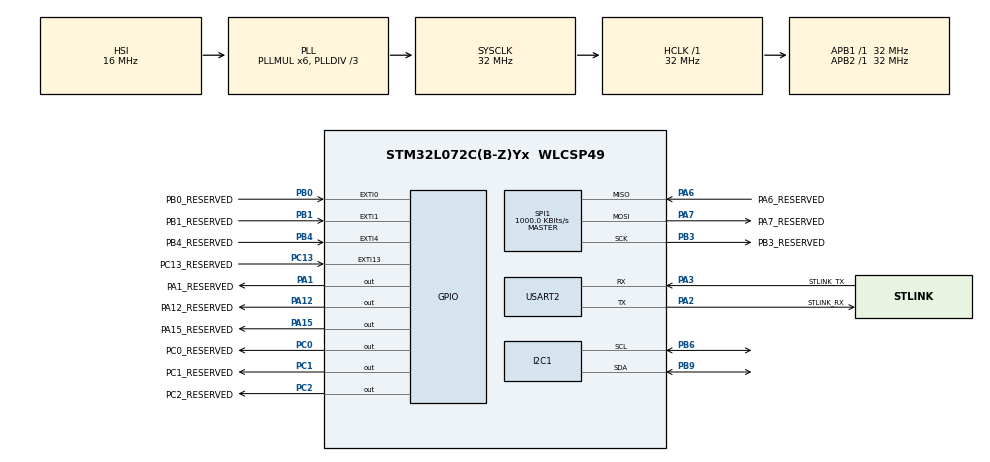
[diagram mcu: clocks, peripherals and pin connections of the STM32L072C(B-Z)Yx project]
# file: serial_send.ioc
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I2C1.Timing=0x00B07CB4
Mcu.Family=STM32L0
Mcu.Name=STM32L072C(B-Z)Yx
Mcu.Package=WLCSP49
NVIC.EXTI0_1_IRQn=true\:0\:0\:false\:false\:true\:true\:true\:true
NVIC.EXTI4_15_IRQn=true\:0\:0\:false\:false\:true\:true\:true\:true
NVIC.RTC_IRQn=true\:0\:0\:false\:false\:true\:true\:true\:true
NVIC.USART2_IRQn=true\:0\:0\:false\:false\:true\:true\:true\:true
PA1.GPIO_Label=PA1_RESERVED
PA1.GPIO_Speed=GPIO_SPEED_FREQ_HIGH
PA1.PinState=GPIO_PIN_RESET
PA1.Signal=GPIO_Output
PA12.GPIO_Label=PA12_RESERVED
PA12.GPIO_Speed=GPIO_SPEED_FREQ_HIGH
PA12.Signal=GPIO_Output
PA15.GPIO_Label=PA15_RESERVED
PA15.GPIO_Speed=GPIO_SPEED_FREQ_HIGH
PA15.Signal=GPIO_Output
PA2.GPIO_Label=STLINK_RX
PA2.Mode=Asynchronous
PA2.Signal=USART2_TX
PA3.GPIO_Label=STLINK_TX
PA3.Mode=Asynchronous
PA3.Signal=USART2_RX
PA6.GPIO_Label=PA6_RESERVED
PA6.Mode=Full_Duplex_Master
PA6.Signal=SPI1_MISO
PA7.GPIO_Label=PA7_RESERVED
PA7.Mode=Full_Duplex_Master
PA7.Signal=SPI1_MOSI
PB0.GPIO_Label=PB0_RESERVED
PB0.Signal=GPXTI0
PB1.GPIO_Label=PB1_RESERVED
PB1.Signal=GPXTI1
PB3.GPIO_Label=PB3_RESERVED
PB3.Mode=Full_Duplex_Master
PB3.Signal=SPI1_SCK
PB4.GPIO_Label=PB4_RESERVED
PB4.Signal=GPXTI4
PB6.Mode=I2C
PB6.Signal=I2C1_SCL
PB9.Mode=I2C
PB9.Signal=I2C1_SDA
PC0.GPIO_Label=PC0_RESERVED
PC0.GPIO_Speed=GPIO_SPEED_FREQ_HIGH
PC0.Signal=GPIO_Output
PC1.GPIO_Label=PC1_RESERVED
PC1.GPIO_Speed=GPIO_SPEED_FREQ_HIGH
PC1.Signal=GPIO_Output
PC13.GPIO_Label=PC13_RESERVED
PC13.Signal=GPXTI13
PC2.GPIO_Label=PC2_RESERVED
PC2.GPIO_Speed=GPIO_SPEED_FREQ_HIGH
PC2.Signal=GPIO_Output
PH0-OSC_IN.Signal=RCC_OSC_IN
PH1-OSC_OUT.Signal=RCC_OSC_OUT
ProjectManager.HeapSize=0x200
ProjectManager.StackSize=0x400
ProjectManager.TargetToolchain=STM32CubeIDE
RCC.AHBFreq_Value=32000000
RCC.APB1Freq_Value=32000000
RCC.APB1TimFreq_Value=32000000
RCC.APB2Freq_Value=32000000
RCC.APB2TimFreq_Value=32000000
RCC.HCLKFreq_Value=32000000
RCC.HSE_VALUE=8000000
RCC.HSI16_VALUE=16000000
RCC.HSI48_VALUE=48000000
RCC.HSI_VALUE=16000000
RCC.LSE_VALUE=32768
RCC.MSI_VALUE=2097000
RCC.PLLDIV=RCC_PLLDIV_3
RCC.PLLMUL=RCC_PLLMUL_6
RCC.SYSCLKFreq_VALUE=32000000
RCC.SYSCLKSource=RCC_SYSCLKSOURCE_PLLCLK
RCC.VCOOutputFreq_Value=96000000
RTC.Alarm-Alarm\ A=RTC_ALARM_A
RTC.AlarmSubSecondMask-Alarm\ A=RTC_ALARMSUBSECONDMASK_NONE
RTC.AsynchPrediv=31
RTC.Format=RTC_FORMAT_BIN
RTC.SynchPrediv=1023
SPI1.BaudRatePrescaler=SPI_BAUDRATEPRESCALER_32
SPI1.CalculateBaudRate=1000.0 KBits/s
SPI1.Direction=SPI_DIRECTION_2LINES
SPI1.Mode=SPI_MODE_MASTER
SPI1.VirtualType=VM_MASTER
USART2.VirtualMode-Asynchronous=VM_ASYNC
VP_RTC_VS_RTC_Activate.Mode=RTC_Enabled
VP_RTC_VS_RTC_Alarm_A_Intern.Mode=Alarm A
VP_RTC_VS_RTC_Calendar.Mode=RTC_Calendar
board=B-L072Z-LRWAN1

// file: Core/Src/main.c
/* USER CODE BEGIN Header */
/**
  ******************************************************************************
  * @file           : main.c
  * @brief          : Main program body
  ******************************************************************************
  * @attention
  *
  * Copyright (c) 2026 STMicroelectronics.
  * All rights reserved.
  *
  * This software is licensed under terms that can be found in the LICENSE file
  * in the root directory of this software component.
  * If no LICENSE file comes with this software, it is provided AS-IS.
  *
  ******************************************************************************
  */
/* USER CODE END Header */
#include "main.h"

/* USER CODE BEGIN Includes */
#include "stdio.h"
/* USER CODE END Includes */

/* USER CODE BEGIN PD */
#define MPU6050_ADDR 0x68

#define REG_PWR_MGMT_1 0x6b
#define REG_WHO_AM_I 0x75
#define REG_ACCEL_XOUT_L  0x3c
#define REG_ACCEL_XOUT_H 0x3b
#define REG_ACCEL_YOUT_H 0x3d
#define REG_ACCEL_ZOUT_H 0x3f
#define REG_GYRO_XOUT_H 0x43
#define REG_GYRO_YOUT_H 0x45
#define REG_GYRO_ZOUT_H 0x47
/* USER CODE END PD */

I2C_HandleTypeDef hi2c1;

RTC_HandleTypeDef hrtc;

SPI_HandleTypeDef hspi1;

UART_HandleTypeDef huart2;

/* USER CODE BEGIN PV */
float acc[3];
float gyro[3];
/* USER CODE END PV */

void SystemClock_Config(void);
static void MX_GPIO_Init(void);
static void MX_I2C1_Init(void);
static void MX_RTC_Init(void);
static void MX_SPI1_Init(void);
static void MX_USART2_UART_Init(void);

/* USER CODE BEGIN 0 */
int _write(int file, char *ptr, int len){
	HAL_StatusTypeDef hstatus;
	hstatus = HAL_UART_Transmit(&huart2,(uint8_t *)ptr, len, HAL_MAX_DELAY);
	if(hstatus==HAL_OK)
		return len;
	else
		return -1;
}

uint8_t MPU6050_WakeUp(I2C_HandleTypeDef *i2c){
	uint8_t data = 0x0;
	if(HAL_I2C_Mem_Write(i2c,MPU6050_ADDR<<1,REG_PWR_MGMT_1,1,&data,1,2000)==HAL_OK)
		return 1;
	else
		return 0;
}

uint8_t MPU6050_Who(I2C_HandleTypeDef *i2c){
	uint8_t data = 0;
	if(HAL_I2C_Mem_Read(i2c,MPU6050_ADDR<<1,REG_WHO_AM_I,1,&data,1,2000)==HAL_OK)
		return data;
	else
		return 0;
}

float MPU6050_Read_AccX(I2C_HandleTypeDef *i2c){
	uint8_t data[2];

	if(HAL_I2C_Mem_Read(i2c,MPU6050_ADDR<<1,REG_ACCEL_XOUT_H,1,data,2,100)==HAL_OK){
//		printf("\nRead data!");
		return (((int16_t)(data[0]<<8 | data[1]))/16384.0);
//		return (int16_t)(data[1]);
	}else{
		printf("\nFailed to read!");
		return 44;
	}

}

float MPU6050_Read_AccY(I2C_HandleTypeDef *i2c){
	uint8_t data[2];

	if(HAL_I2C_Mem_Read(i2c,MPU6050_ADDR<<1,REG_ACCEL_YOUT_H,1,data,2,100)==HAL_OK){
//		printf("\nRead data!");
		return (((int16_t)(data[0]<<8 | data[1]))/16384.0);
//		return (int16_t)(data[1]);
	}else{
		printf("\nFailed to read!");
		return 44;
	}

}

float MPU6050_Read_AccZ(I2C_HandleTypeDef *i2c){
	uint8_t data[2];

	if(HAL_I2C_Mem_Read(i2c,MPU6050_ADDR<<1,REG_ACCEL_ZOUT_H,1,data,2,100)==HAL_OK){
//		printf("\nRead data!");
		return (((int16_t)(data[0]<<8 | data[1]))/16384.0);
//		return (int16_t)(data[1]);
	}else{
		printf("\nFailed to read!");
		return 44;
	}

}

float MPU6050_Read_GyroX(I2C_HandleTypeDef *i2c){
	uint8_t data[2];

		if(HAL_I2C_Mem_Read(i2c,MPU6050_ADDR<<1,REG_GYRO_XOUT_H,1,data,2,100)==HAL_OK){
	//		printf("\nRead data!");
			return (((int16_t)(data[0]<<8 | data[1]))/131.0);
	//		return (int16_t)(data[1]);
		}else{
			printf("\nFailed to read!");
			return 44;
		}
}

float MPU6050_Read_GyroY(I2C_HandleTypeDef *i2c){
	uint8_t data[2];

		if(HAL_I2C_Mem_Read(i2c,MPU6050_ADDR<<1,REG_GYRO_YOUT_H,1,data,2,100)==HAL_OK){
	//		printf("\nRead data!");
			return (((int16_t)(data[0]<<8 | data[1]))/131.0);
	//		return (int16_t)(data[1]);
		}else{
			printf("\nFailed to read!");
			return 44;
		}
}

float MPU6050_Read_GyroZ(I2C_HandleTypeDef *i2c){
	uint8_t data[2];

		if(HAL_I2C_Mem_Read(i2c,MPU6050_ADDR<<1,REG_GYRO_ZOUT_H,1,data,2,100)==HAL_OK){
	//		printf("\nRead data!");
			return (((int16_t)(data[0]<<8 | data[1]))/131.0);
	//		return (int16_t)(data[1]);
		}else{
			printf("\nFailed to read!");
			return 44;
		}
}

/* USER CODE END 0 */

int main(void)
{

  /* MCU Configuration--------------------------------------------------------*/

  /* Reset of all peripherals, Initializes the Flash interface and the Systick. */
  HAL_Init();

  /* Configure the system clock */
  SystemClock_Config();

  /* Initialize all configured peripherals */
  MX_GPIO_Init();
  MX_I2C1_Init();
  MX_RTC_Init();
  MX_SPI1_Init();
  MX_USART2_UART_Init();
  /* USER CODE BEGIN 2 */
  MPU6050_WakeUp(&hi2c1);
  /* USER CODE END 2 */

  /* Infinite loop */
  while (1)
  {
	acc[0]=MPU6050_Read_AccX(&hi2c1);
	acc[1]=MPU6050_Read_AccY(&hi2c1);
	acc[2]=MPU6050_Read_AccZ(&hi2c1);

	gyro[0]=MPU6050_Read_GyroX(&hi2c1);
	gyro[1]=MPU6050_Read_GyroY(&hi2c1);
	gyro[2]=MPU6050_Read_GyroZ(&hi2c1);

	printf("%f %f %f %f %f %f\n",acc[0],acc[1],acc[2],gyro[0],gyro[1],gyro[2]);

  }
}

void SystemClock_Config(void)
{
  RCC_OscInitTypeDef RCC_OscInitStruct = {0};
  RCC_ClkInitTypeDef RCC_ClkInitStruct = {0};
  RCC_PeriphCLKInitTypeDef PeriphClkInit = {0};

  /** Configure the main internal regulator output voltage
  */
  __HAL_PWR_VOLTAGESCALING_CONFIG(PWR_REGULATOR_VOLTAGE_SCALE1);

  /** Initializes the RCC Oscillators according to the specified parameters
  * in the RCC_OscInitTypeDef structure.
  */
  RCC_OscInitStruct.OscillatorType = RCC_OSCILLATORTYPE_HSI|RCC_OSCILLATORTYPE_LSI;
  RCC_OscInitStruct.HSIState = RCC_HSI_ON;
  RCC_OscInitStruct.HSICalibrationValue = RCC_HSICALIBRATION_DEFAULT;
  RCC_OscInitStruct.LSIState = RCC_LSI_ON;
  RCC_OscInitStruct.PLL.PLLState = RCC_PLL_ON;
  RCC_OscInitStruct.PLL.PLLSource = RCC_PLLSOURCE_HSI;
  RCC_OscInitStruct.PLL.PLLMUL = RCC_PLLMUL_6;
  RCC_OscInitStruct.PLL.PLLDIV = RCC_PLLDIV_3;
  if (HAL_RCC_OscConfig(&RCC_OscInitStruct) != HAL_OK)
  {
    Error_Handler();
  }

  /** Initializes the CPU, AHB and APB buses clocks
  */
  RCC_ClkInitStruct.ClockType = RCC_CLOCKTYPE_HCLK|RCC_CLOCKTYPE_SYSCLK
                              |RCC_CLOCKTYPE_PCLK1|RCC_CLOCKTYPE_PCLK2;
  RCC_ClkInitStruct.SYSCLKSource = RCC_SYSCLKSOURCE_PLLCLK;
  RCC_ClkInitStruct.AHBCLKDivider = RCC_SYSCLK_DIV1;
  RCC_ClkInitStruct.APB1CLKDivider = RCC_HCLK_DIV1;
  RCC_ClkInitStruct.APB2CLKDivider = RCC_HCLK_DIV1;

  if (HAL_RCC_ClockConfig(&RCC_ClkInitStruct, FLASH_LATENCY_1) != HAL_OK)
  {
    Error_Handler();
  }
  PeriphClkInit.PeriphClockSelection = RCC_PERIPHCLK_USART2|RCC_PERIPHCLK_I2C1
                              |RCC_PERIPHCLK_RTC;
  PeriphClkInit.Usart2ClockSelection = RCC_USART2CLKSOURCE_PCLK1;
  PeriphClkInit.I2c1ClockSelection = RCC_I2C1CLKSOURCE_PCLK1;
  PeriphClkInit.RTCClockSelection = RCC_RTCCLKSOURCE_LSI;
  if (HAL_RCCEx_PeriphCLKConfig(&PeriphClkInit) != HAL_OK)
  {
    Error_Handler();
  }
}

static void MX_I2C1_Init(void)
{

  hi2c1.Instance = I2C1;
  hi2c1.Init.Timing = 0x00B07CB4;
  hi2c1.Init.OwnAddress1 = 0;
  hi2c1.Init.AddressingMode = I2C_ADDRESSINGMODE_7BIT;
  hi2c1.Init.DualAddressMode = I2C_DUALADDRESS_DISABLE;
  hi2c1.Init.OwnAddress2 = 0;
  hi2c1.Init.OwnAddress2Masks = I2C_OA2_NOMASK;
  hi2c1.Init.GeneralCallMode = I2C_GENERALCALL_DISABLE;
  hi2c1.Init.NoStretchMode = I2C_NOSTRETCH_DISABLE;
  if (HAL_I2C_Init(&hi2c1) != HAL_OK)
  {
    Error_Handler();
  }

  /** Configure Analogue filter
  */
  if (HAL_I2CEx_ConfigAnalogFilter(&hi2c1, I2C_ANALOGFILTER_ENABLE) != HAL_OK)
  {
    Error_Handler();
  }

  /** Configure Digital filter
  */
  if (HAL_I2CEx_ConfigDigitalFilter(&hi2c1, 0) != HAL_OK)
  {
    Error_Handler();
  }

}

static void MX_RTC_Init(void)
{

  RTC_TimeTypeDef sTime = {0};
  RTC_DateTypeDef sDate = {0};
  RTC_AlarmTypeDef sAlarm = {0};

  /** Initialize RTC Only
  */
  hrtc.Instance = RTC;
  hrtc.Init.HourFormat = RTC_HOURFORMAT_24;
  hrtc.Init.AsynchPrediv = 31;
  hrtc.Init.SynchPrediv = 1023;
  hrtc.Init.OutPut = RTC_OUTPUT_DISABLE;
  hrtc.Init.OutPutRemap = RTC_OUTPUT_REMAP_NONE;
  hrtc.Init.OutPutPolarity = RTC_OUTPUT_POLARITY_HIGH;
  hrtc.Init.OutPutType = RTC_OUTPUT_TYPE_OPENDRAIN;
  if (HAL_RTC_Init(&hrtc) != HAL_OK)
  {
    Error_Handler();
  }

  /** Initialize RTC and set the Time and Date
  */
  sTime.Hours = 0;
  sTime.Minutes = 0;
  sTime.Seconds = 0;
  sTime.DayLightSaving = RTC_DAYLIGHTSAVING_NONE;
  sTime.StoreOperation = RTC_STOREOPERATION_RESET;
  if (HAL_RTC_SetTime(&hrtc, &sTime, RTC_FORMAT_BIN) != HAL_OK)
  {
    Error_Handler();
  }
  sDate.WeekDay = RTC_WEEKDAY_MONDAY;
  sDate.Month = RTC_MONTH_JANUARY;
  sDate.Date = 1;
  sDate.Year = 0;

  if (HAL_RTC_SetDate(&hrtc, &sDate, RTC_FORMAT_BIN) != HAL_OK)
  {
    Error_Handler();
  }

  /** Enable the Alarm A
  */
  sAlarm.AlarmTime.Hours = 0;
  sAlarm.AlarmTime.Minutes = 0;
  sAlarm.AlarmTime.Seconds = 0;
  sAlarm.AlarmTime.SubSeconds = 0;
  sAlarm.AlarmTime.DayLightSaving = RTC_DAYLIGHTSAVING_NONE;
  sAlarm.AlarmTime.StoreOperation = RTC_STOREOPERATION_RESET;
  sAlarm.AlarmMask = RTC_ALARMMASK_NONE;
  sAlarm.AlarmSubSecondMask = RTC_ALARMSUBSECONDMASK_NONE;
  sAlarm.AlarmDateWeekDaySel = RTC_ALARMDATEWEEKDAYSEL_DATE;
  sAlarm.AlarmDateWeekDay = 1;
  sAlarm.Alarm = RTC_ALARM_A;
  if (HAL_RTC_SetAlarm_IT(&hrtc, &sAlarm, RTC_FORMAT_BIN) != HAL_OK)
  {
    Error_Handler();
  }

}

static void MX_SPI1_Init(void)
{

  /* SPI1 parameter configuration*/
  hspi1.Instance = SPI1;
  hspi1.Init.Mode = SPI_MODE_MASTER;
  hspi1.Init.Direction = SPI_DIRECTION_2LINES;
  hspi1.Init.DataSize = SPI_DATASIZE_8BIT;
  hspi1.Init.CLKPolarity = SPI_POLARITY_LOW;
  hspi1.Init.CLKPhase = SPI_PHASE_1EDGE;
  hspi1.Init.NSS = SPI_NSS_SOFT;
  hspi1.Init.BaudRatePrescaler = SPI_BAUDRATEPRESCALER_32;
  hspi1.Init.FirstBit = SPI_FIRSTBIT_MSB;
  hspi1.Init.TIMode = SPI_TIMODE_DISABLE;
  hspi1.Init.CRCCalculation = SPI_CRCCALCULATION_DISABLE;
  hspi1.Init.CRCPolynomial = 7;
  if (HAL_SPI_Init(&hspi1) != HAL_OK)
  {
    Error_Handler();
  }

}

static void MX_USART2_UART_Init(void)
{

  huart2.Instance = USART2;
  huart2.Init.BaudRate = 115200;
  huart2.Init.WordLength = UART_WORDLENGTH_8B;
  huart2.Init.StopBits = UART_STOPBITS_1;
  huart2.Init.Parity = UART_PARITY_NONE;
  huart2.Init.Mode = UART_MODE_TX_RX;
  huart2.Init.HwFlowCtl = UART_HWCONTROL_NONE;
  huart2.Init.OverSampling = UART_OVERSAMPLING_16;
  huart2.Init.OneBitSampling = UART_ONE_BIT_SAMPLE_DISABLE;
  huart2.AdvancedInit.AdvFeatureInit = UART_ADVFEATURE_NO_INIT;
  if (HAL_UART_Init(&huart2) != HAL_OK)
  {
    Error_Handler();
  }

}

static void MX_GPIO_Init(void)
{
  GPIO_InitTypeDef GPIO_InitStruct = {0};

  /* GPIO Ports Clock Enable */
  __HAL_RCC_GPIOA_CLK_ENABLE();
  __HAL_RCC_GPIOB_CLK_ENABLE();
  __HAL_RCC_GPIOC_CLK_ENABLE();
  __HAL_RCC_GPIOH_CLK_ENABLE();

  /*Configure GPIO pin Output Level */
  HAL_GPIO_WritePin(GPIOA, PA15_RESERVED_Pin|PA12_RESERVED_Pin|PA1_RESERVED_Pin, GPIO_PIN_RESET);

  /*Configure GPIO pin Output Level */
  HAL_GPIO_WritePin(GPIOC, PC1_RESERVED_Pin|PC0_RESERVED_Pin|PC2_RESERVED_Pin, GPIO_PIN_RESET);

  /*Configure GPIO pins : PA15_RESERVED_Pin PA12_RESERVED_Pin PA1_RESERVED_Pin */
  GPIO_InitStruct.Pin = PA15_RESERVED_Pin|PA12_RESERVED_Pin|PA1_RESERVED_Pin;
  GPIO_InitStruct.Mode = GPIO_MODE_OUTPUT_PP;
  GPIO_InitStruct.Pull = GPIO_NOPULL;
  GPIO_InitStruct.Speed = GPIO_SPEED_FREQ_HIGH;
  HAL_GPIO_Init(GPIOA, &GPIO_InitStruct);

  /*Configure GPIO pins : PB4_RESERVED_Pin PB1_RESERVED_Pin PB0_RESERVED_Pin */
  GPIO_InitStruct.Pin = PB4_RESERVED_Pin|PB1_RESERVED_Pin|PB0_RESERVED_Pin;
  GPIO_InitStruct.Mode = GPIO_MODE_IT_RISING;
  GPIO_InitStruct.Pull = GPIO_NOPULL;
  HAL_GPIO_Init(GPIOB, &GPIO_InitStruct);

  /*Configure GPIO pin : PC13_RESERVED_Pin */
  GPIO_InitStruct.Pin = PC13_RESERVED_Pin;
  GPIO_InitStruct.Mode = GPIO_MODE_IT_RISING;
  GPIO_InitStruct.Pull = GPIO_NOPULL;
  HAL_GPIO_Init(PC13_RESERVED_GPIO_Port, &GPIO_InitStruct);

  /*Configure GPIO pins : PC1_RESERVED_Pin PC0_RESERVED_Pin PC2_RESERVED_Pin */
  GPIO_InitStruct.Pin = PC1_RESERVED_Pin|PC0_RESERVED_Pin|PC2_RESERVED_Pin;
  GPIO_InitStruct.Mode = GPIO_MODE_OUTPUT_PP;
  GPIO_InitStruct.Pull = GPIO_NOPULL;
  GPIO_InitStruct.Speed = GPIO_SPEED_FREQ_HIGH;
  HAL_GPIO_Init(GPIOC, &GPIO_InitStruct);

  /* EXTI interrupt init*/
  HAL_NVIC_SetPriority(EXTI0_1_IRQn, 0, 0);
  HAL_NVIC_EnableIRQ(EXTI0_1_IRQn);

  HAL_NVIC_SetPriority(EXTI4_15_IRQn, 0, 0);
  HAL_NVIC_EnableIRQ(EXTI4_15_IRQn);

}

void Error_Handler(void)
{
  __disable_irq();
  while (1)
  {
  }
}
